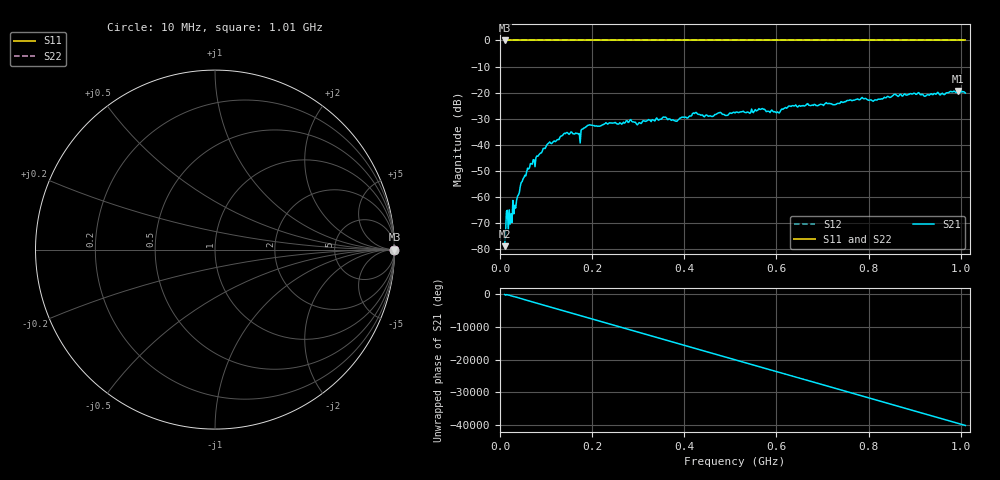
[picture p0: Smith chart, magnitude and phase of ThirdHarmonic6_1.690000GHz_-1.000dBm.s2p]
! 8/16/2025 8:17:58 PM
! C:\ANRITSUVNA\TEMP\TEMP.S2P
! CHANNEL.1
! TR.MEASUREMENT
! RAW.DATA
! RF.CORRECTION.OFF
! AVERAGING.OFF
! IF.BANDWIDTH: 5KHZ
! SWEEPTYPE:  FREQ.SWEEP(Linear)
! Reference Plane Port Info
! PORT:  PORT1  PORT2
! DISTANCE:  0  m  0  m
! TIME:  0  s  0  s
! PHASE.OFFSET:  0  deg.  0  deg.
! LOSS:  0  dB  0  dB
! REF.LOSS:  0  dB  0  dB
! REF.FREQ:  0  Hz  0  Hz
! Power Info
! POWER:  -20  dBm  -20  dBm
! EFF.POWER:  -20  dBm  -20  dBm
! SOURCE.ATTEN:  0  dB  0  dB
! TEST.ATTEN:  0  dB  0  dB
# GHZ S RI R 50.0
! FREQ.GHZ  S11RE  S11IM  S21RE  S21IM  S12RE  S12IM  S22RE  S22IM
!; PortSelection: Port_12
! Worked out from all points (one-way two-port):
!   501 points, 10 MHz to 1.01 GHz, reference 50 ohm
!   highest |S21| = -19.41 dB at 994 MHz (marker M1); lowest = -78.9 dB at 10 MHz (marker M2)
!   lowest |S11| = 0.0 dB at 10 MHz (marker M3)
!   |S11| at or under -10 dB: nowhere
!   |S22| runs from 0.0 to 0.0 dB; largest |S21 - S12| = 1.1
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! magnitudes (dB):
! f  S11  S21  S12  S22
! 10 MHz  0.0  -78.9  0.0  0.0
! 16 MHz  0.0  -65.1  0.0  0.0
! 22 MHz  0.0  -70.4  0.0  0.0
! 48 MHz  0.0  -54.1  0.0  0.0
! 70 MHz  0.0  -47.4  0.0  0.0
! 106 MHz  0.0  -39.3  0.0  0.0
! 142 MHz  0.0  -35.7  0.0  0.0
! 170 MHz  0.0  -35.8  0.0  0.0
! 178 MHz  0.0  -34.0  0.0  0.0
! 194 MHz  0.0  -32.3  0.0  0.0
! 344 MHz  0.0  -30.6  0.0  0.0
! 382 MHz  0.0  -31.0  0.0  0.0
! 422 MHz  0.0  -28.0  0.0  0.0
! 458 MHz  0.0  -29.0  0.0  0.0
! 510 MHz  0.0  -27.8  0.0  0.0
! 566 MHz  0.0  -26.4  0.0  0.0
! 602 MHz  0.0  -27.4  0.0  0.0
! 630 MHz  0.0  -25.2  0.0  0.0
! 678 MHz  0.0  -24.7  0.0  0.0
! 844 MHz  0.0  -21.6  0.0  0.0
! 994 MHz  0.0  -19.4  0.0  0.0
! 1.01 GHz  0.0  -20.2  0.0  0.0
